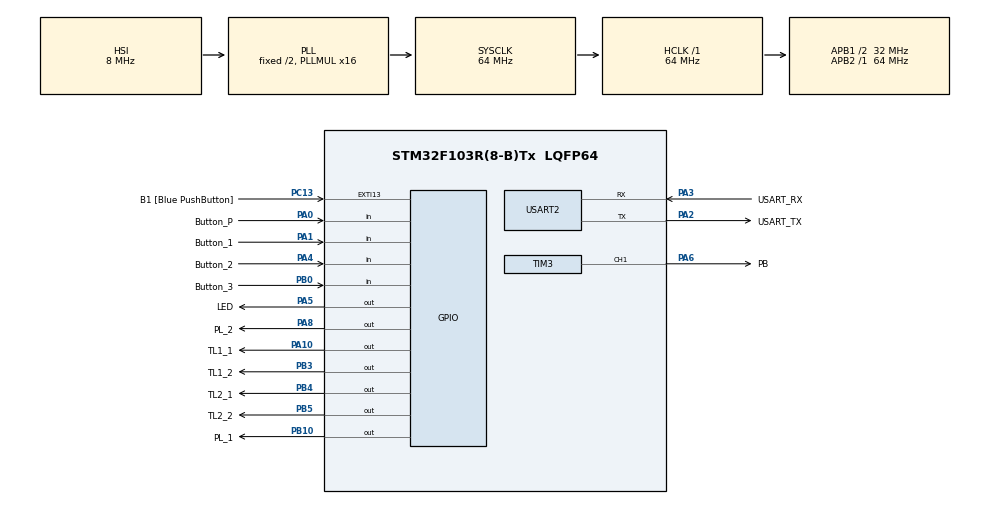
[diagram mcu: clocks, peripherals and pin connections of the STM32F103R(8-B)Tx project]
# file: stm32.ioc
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Mcu.Family=STM32F1
Mcu.Name=STM32F103R(8-B)Tx
Mcu.Package=LQFP64
NVIC.EXTI15_10_IRQn=true\:0\:0\:false\:false\:true\:true\:true
NVIC.PriorityGroup=NVIC_PRIORITYGROUP_4
NVIC.TIM2_IRQn=true\:0\:0\:false\:false\:true\:true\:true
NVIC.TIM3_IRQn=true\:0\:0\:false\:false\:true\:true\:true
PA0-WKUP.GPIO_Label=Button_P
PA0-WKUP.GPIO_PuPd=GPIO_PULLUP
PA0-WKUP.Signal=GPIO_Input
PA1.GPIO_Label=Button_1
PA1.GPIO_PuPd=GPIO_PULLUP
PA1.Signal=GPIO_Input
PA10.GPIO_Label=TL1_1
PA10.Signal=GPIO_Output
PA13.GPIO_Label=TMS
PA13.Mode=Serial_Wire
PA13.Signal=SYS_JTMS-SWDIO
PA14.GPIO_Label=TCK
PA14.Mode=Serial_Wire
PA14.Signal=SYS_JTCK-SWCLK
PA2.GPIO_Label=USART_TX
PA2.GPIO_Mode=GPIO_MODE_AF_PP
PA2.GPIO_PuPd=GPIO_NOPULL
PA2.GPIO_Speed=GPIO_SPEED_FREQ_LOW
PA2.Mode=Asynchronous
PA2.Signal=USART2_TX
PA3.GPIO_Label=USART_RX
PA3.GPIO_Mode=GPIO_MODE_AF_PP
PA3.GPIO_PuPd=GPIO_NOPULL
PA3.GPIO_Speed=GPIO_SPEED_FREQ_LOW
PA3.Mode=Asynchronous
PA3.Signal=USART2_RX
PA4.GPIO_Label=Button_2
PA4.GPIO_PuPd=GPIO_PULLUP
PA4.Signal=GPIO_Input
PA5.GPIO_Label=LED
PA5.GPIO_ModeDefaultOutputPP=GPIO_MODE_OUTPUT_PP
PA5.GPIO_PuPd=GPIO_NOPULL
PA5.GPIO_Speed=GPIO_SPEED_FREQ_LOW
PA5.Signal=GPIO_Output
PA6.GPIO_Label=PB
PA6.Signal=S_TIM3_CH1
PA8.GPIO_Label=PL_2
PA8.Signal=GPIO_Output
PB0.GPIO_Label=Button_3
PB0.GPIO_PuPd=GPIO_PULLUP
PB0.Signal=GPIO_Input
PB10.GPIO_Label=PL_1
PB10.Signal=GPIO_Output
PB3.GPIO_Label=TL1_2
PB3.Signal=GPIO_Output
PB4.GPIO_Label=TL2_1
PB4.Signal=GPIO_Output
PB5.GPIO_Label=TL2_2
PB5.Signal=GPIO_Output
PC13-TAMPER-RTC.GPIO_Label=B1 [Blue PushButton]
PC13-TAMPER-RTC.GPIO_PuPd=GPIO_NOPULL
PC13-TAMPER-RTC.Signal=GPXTI13
PC14-OSC32_IN.Mode=LSE-External-Oscillator
PC14-OSC32_IN.Signal=RCC_OSC32_IN
PC15-OSC32_OUT.Mode=LSE-External-Oscillator
PC15-OSC32_OUT.Signal=RCC_OSC32_OUT
PD0-OSC_IN.Mode=HSE-External-Clock-Source
PD0-OSC_IN.Signal=RCC_OSC_IN
PD1-OSC_OUT.Mode=HSE-External-Clock-Source
PD1-OSC_OUT.Signal=RCC_OSC_OUT
ProjectManager.HeapSize=0x200
ProjectManager.StackSize=0x400
ProjectManager.TargetToolchain=STM32CubeIDE
RCC.AHBFreq_Value=64000000
RCC.APB1CLKDivider=RCC_HCLK_DIV2
RCC.APB1Freq_Value=32000000
RCC.APB1TimFreq_Value=64000000
RCC.APB2Freq_Value=64000000
RCC.APB2TimFreq_Value=64000000
RCC.HCLKFreq_Value=64000000
RCC.PLLMUL=RCC_PLL_MUL16
RCC.RTCClockSelection=RCC_RTCCLKSOURCE_LSE
RCC.SYSCLKFreq_VALUE=64000000
RCC.SYSCLKSource=RCC_SYSCLKSOURCE_PLLCLK
RCC.USBFreq_Value=64000000
SH.S_TIM3_CH1.0=TIM3_CH1,PWM Generation1 CH1
TIM2.Period=10
TIM2.Prescaler=63999
TIM3.Channel-PWM\ Generation1\ CH1=TIM_CHANNEL_1
TIM3.Period=999
TIM3.Prescaler=63
USART2.VirtualMode=VM_ASYNC
VP_TIM2_VS_ClockSourceINT.Mode=Internal
VP_TIM3_VS_ClockSourceINT.Mode=Internal
board=NUCLEO-F103RB

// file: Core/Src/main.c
/* USER CODE BEGIN Header */
/**
  ******************************************************************************
  * @file           : main.c
  * @brief          : Main program body
  ******************************************************************************
  * @attention
  *
  * <h2><center>&copy; Copyright (c) 2022 STMicroelectronics.
  * All rights reserved.</center></h2>
  *
  * This software component is licensed by ST under BSD 3-Clause license,
  * the "License"; You may not use this file except in compliance with the
  * License. You may obtain a copy of the License at:
  *                        opensource.org/licenses/BSD-3-Clause
  *
  ******************************************************************************
  */
/* USER CODE END Header */
#include "main.h"

/* USER CODE BEGIN Includes */
#include "software_timer.h"
#include "fsm_auto.h"
#include "fsm_manual.h"
#include "fsm_pedestrian.h"
#include "button.h"
#include "output_display.h"
#include "global.h"
/* USER CODE END Includes */

TIM_HandleTypeDef htim2;
TIM_HandleTypeDef htim3;

UART_HandleTypeDef huart2;

void SystemClock_Config(void);
static void MX_GPIO_Init(void);
static void MX_USART2_UART_Init(void);
static void MX_TIM3_Init(void);
static void MX_TIM2_Init(void);

/* USER CODE BEGIN 0 */
void fsm_buzzer_processing(){
	switch (status_buzzer) {
		case BUZ_ON:
			if(timer3_flag==1){
				if(redDuration<=5){
					setTimer3(200);
					dutyCycle+=40;
					__HAL_TIM_SET_COMPARE(&htim3, TIM_CHANNEL_1, dutyCycle);
				}
				else{
					if((redDuration-numberCounter)<=5){
						setTimer3(200);
						dutyCycle+=40;
						if(dutyCycle>=1000) dutyCycle=900;
						__HAL_TIM_SET_COMPARE(&htim3, TIM_CHANNEL_1, dutyCycle);
					}
				}

			}
			break;
		case BUZ_OFF:
			dutyCycle=0;
			__HAL_TIM_SET_COMPARE(&htim3, TIM_CHANNEL_1, dutyCycle);
			break;
		default:
			break;
	}
}
/* USER CODE END 0 */

int main(void)
{

  /* MCU Configuration--------------------------------------------------------*/

  /* Reset of all peripherals, Initializes the Flash interface and the Systick. */
  HAL_Init();

  /* Configure the system clock */
  SystemClock_Config();

  /* Initialize all configured peripherals */
  MX_GPIO_Init();
  MX_USART2_UART_Init();
  MX_TIM3_Init();
  MX_TIM2_Init();
  /* USER CODE BEGIN 2 */
  HAL_TIM_Base_Start_IT (& htim2 ) ;
  HAL_TIM_PWM_Start(&htim3, TIM_CHANNEL_1);
  /* USER CODE END 2 */

  /* Infinite loop */
  /* USER CODE BEGIN WHILE */
  timer0_flag=1;//Led
  timer1_flag=1;//timeOutMan || timeOutPed
  timer2_flag=1;//blink PA5
  timer3_flag=1;//buzzer
  while (1)
  {
    /* USER CODE END WHILE */

    /* USER CODE BEGIN 3 */
	  fsm_auto_processing();
	  fsm_manual_processing();
	  fsm_pedestrian_processing();
	  fsm_buzzer_processing();
	  if(timer2_flag==1){
		  setTimer2(1000);
		  blinkPA51s();
	  }
  }
  /* USER CODE END 3 */
}

void SystemClock_Config(void)
{
  RCC_OscInitTypeDef RCC_OscInitStruct = {0};
  RCC_ClkInitTypeDef RCC_ClkInitStruct = {0};

  /** Initializes the RCC Oscillators according to the specified parameters
  * in the RCC_OscInitTypeDef structure.
  */
  RCC_OscInitStruct.OscillatorType = RCC_OSCILLATORTYPE_HSI;
  RCC_OscInitStruct.HSIState = RCC_HSI_ON;
  RCC_OscInitStruct.HSICalibrationValue = RCC_HSICALIBRATION_DEFAULT;
  RCC_OscInitStruct.PLL.PLLState = RCC_PLL_ON;
  RCC_OscInitStruct.PLL.PLLSource = RCC_PLLSOURCE_HSI_DIV2;
  RCC_OscInitStruct.PLL.PLLMUL = RCC_PLL_MUL16;
  if (HAL_RCC_OscConfig(&RCC_OscInitStruct) != HAL_OK)
  {
    Error_Handler();
  }
  /** Initializes the CPU, AHB and APB buses clocks
  */
  RCC_ClkInitStruct.ClockType = RCC_CLOCKTYPE_HCLK|RCC_CLOCKTYPE_SYSCLK
                              |RCC_CLOCKTYPE_PCLK1|RCC_CLOCKTYPE_PCLK2;
  RCC_ClkInitStruct.SYSCLKSource = RCC_SYSCLKSOURCE_PLLCLK;
  RCC_ClkInitStruct.AHBCLKDivider = RCC_SYSCLK_DIV1;
  RCC_ClkInitStruct.APB1CLKDivider = RCC_HCLK_DIV2;
  RCC_ClkInitStruct.APB2CLKDivider = RCC_HCLK_DIV1;

  if (HAL_RCC_ClockConfig(&RCC_ClkInitStruct, FLASH_LATENCY_2) != HAL_OK)
  {
    Error_Handler();
  }
}

static void MX_TIM2_Init(void)
{

  TIM_ClockConfigTypeDef sClockSourceConfig = {0};
  TIM_MasterConfigTypeDef sMasterConfig = {0};

  htim2.Instance = TIM2;
  htim2.Init.Prescaler = 63999;
  htim2.Init.CounterMode = TIM_COUNTERMODE_UP;
  htim2.Init.Period = 10;
  htim2.Init.ClockDivision = TIM_CLOCKDIVISION_DIV1;
  htim2.Init.AutoReloadPreload = TIM_AUTORELOAD_PRELOAD_DISABLE;
  if (HAL_TIM_Base_Init(&htim2) != HAL_OK)
  {
    Error_Handler();
  }
  sClockSourceConfig.ClockSource = TIM_CLOCKSOURCE_INTERNAL;
  if (HAL_TIM_ConfigClockSource(&htim2, &sClockSourceConfig) != HAL_OK)
  {
    Error_Handler();
  }
  sMasterConfig.MasterOutputTrigger = TIM_TRGO_RESET;
  sMasterConfig.MasterSlaveMode = TIM_MASTERSLAVEMODE_DISABLE;
  if (HAL_TIMEx_MasterConfigSynchronization(&htim2, &sMasterConfig) != HAL_OK)
  {
    Error_Handler();
  }

}

static void MX_TIM3_Init(void)
{

  TIM_ClockConfigTypeDef sClockSourceConfig = {0};
  TIM_MasterConfigTypeDef sMasterConfig = {0};
  TIM_OC_InitTypeDef sConfigOC = {0};

  htim3.Instance = TIM3;
  htim3.Init.Prescaler = 63;
  htim3.Init.CounterMode = TIM_COUNTERMODE_UP;
  htim3.Init.Period = 999;
  htim3.Init.ClockDivision = TIM_CLOCKDIVISION_DIV1;
  htim3.Init.AutoReloadPreload = TIM_AUTORELOAD_PRELOAD_DISABLE;
  if (HAL_TIM_Base_Init(&htim3) != HAL_OK)
  {
    Error_Handler();
  }
  sClockSourceConfig.ClockSource = TIM_CLOCKSOURCE_INTERNAL;
  if (HAL_TIM_ConfigClockSource(&htim3, &sClockSourceConfig) != HAL_OK)
  {
    Error_Handler();
  }
  if (HAL_TIM_PWM_Init(&htim3) != HAL_OK)
  {
    Error_Handler();
  }
  sMasterConfig.MasterOutputTrigger = TIM_TRGO_RESET;
  sMasterConfig.MasterSlaveMode = TIM_MASTERSLAVEMODE_DISABLE;
  if (HAL_TIMEx_MasterConfigSynchronization(&htim3, &sMasterConfig) != HAL_OK)
  {
    Error_Handler();
  }
  sConfigOC.OCMode = TIM_OCMODE_PWM1;
  sConfigOC.Pulse = 0;
  sConfigOC.OCPolarity = TIM_OCPOLARITY_HIGH;
  sConfigOC.OCFastMode = TIM_OCFAST_DISABLE;
  if (HAL_TIM_PWM_ConfigChannel(&htim3, &sConfigOC, TIM_CHANNEL_1) != HAL_OK)
  {
    Error_Handler();
  }
  HAL_TIM_MspPostInit(&htim3);

}

static void MX_USART2_UART_Init(void)
{

  huart2.Instance = USART2;
  huart2.Init.BaudRate = 115200;
  huart2.Init.WordLength = UART_WORDLENGTH_8B;
  huart2.Init.StopBits = UART_STOPBITS_1;
  huart2.Init.Parity = UART_PARITY_NONE;
  huart2.Init.Mode = UART_MODE_TX_RX;
  huart2.Init.HwFlowCtl = UART_HWCONTROL_NONE;
  huart2.Init.OverSampling = UART_OVERSAMPLING_16;
  if (HAL_UART_Init(&huart2) != HAL_OK)
  {
    Error_Handler();
  }

}

static void MX_GPIO_Init(void)
{
  GPIO_InitTypeDef GPIO_InitStruct = {0};

  /* GPIO Ports Clock Enable */
  __HAL_RCC_GPIOC_CLK_ENABLE();
  __HAL_RCC_GPIOD_CLK_ENABLE();
  __HAL_RCC_GPIOA_CLK_ENABLE();
  __HAL_RCC_GPIOB_CLK_ENABLE();

  /*Configure GPIO pin Output Level */
  HAL_GPIO_WritePin(GPIOA, LED_Pin|PL_2_Pin|TL1_1_Pin, GPIO_PIN_RESET);

  /*Configure GPIO pin Output Level */
  HAL_GPIO_WritePin(GPIOB, PL_1_Pin|TL1_2_Pin|TL2_1_Pin|TL2_2_Pin, GPIO_PIN_RESET);

  /*Configure GPIO pin : B1_Pin */
  GPIO_InitStruct.Pin = B1_Pin;
  GPIO_InitStruct.Mode = GPIO_MODE_IT_RISING;
  GPIO_InitStruct.Pull = GPIO_NOPULL;
  HAL_GPIO_Init(B1_GPIO_Port, &GPIO_InitStruct);

  /*Configure GPIO pins : Button_P_Pin Button_1_Pin Button_2_Pin */
  GPIO_InitStruct.Pin = Button_P_Pin|Button_1_Pin|Button_2_Pin;
  GPIO_InitStruct.Mode = GPIO_MODE_INPUT;
  GPIO_InitStruct.Pull = GPIO_PULLUP;
  HAL_GPIO_Init(GPIOA, &GPIO_InitStruct);

  /*Configure GPIO pins : LED_Pin PL_2_Pin TL1_1_Pin */
  GPIO_InitStruct.Pin = LED_Pin|PL_2_Pin|TL1_1_Pin;
  GPIO_InitStruct.Mode = GPIO_MODE_OUTPUT_PP;
  GPIO_InitStruct.Pull = GPIO_NOPULL;
  GPIO_InitStruct.Speed = GPIO_SPEED_FREQ_LOW;
  HAL_GPIO_Init(GPIOA, &GPIO_InitStruct);

  /*Configure GPIO pin : Button_3_Pin */
  GPIO_InitStruct.Pin = Button_3_Pin;
  GPIO_InitStruct.Mode = GPIO_MODE_INPUT;
  GPIO_InitStruct.Pull = GPIO_PULLUP;
  HAL_GPIO_Init(Button_3_GPIO_Port, &GPIO_InitStruct);

  /*Configure GPIO pins : PL_1_Pin TL1_2_Pin TL2_1_Pin TL2_2_Pin */
  GPIO_InitStruct.Pin = PL_1_Pin|TL1_2_Pin|TL2_1_Pin|TL2_2_Pin;
  GPIO_InitStruct.Mode = GPIO_MODE_OUTPUT_PP;
  GPIO_InitStruct.Pull = GPIO_NOPULL;
  GPIO_InitStruct.Speed = GPIO_SPEED_FREQ_LOW;
  HAL_GPIO_Init(GPIOB, &GPIO_InitStruct);

  /* EXTI interrupt init*/
  HAL_NVIC_SetPriority(EXTI15_10_IRQn, 0, 0);
  HAL_NVIC_EnableIRQ(EXTI15_10_IRQn);

}

/* USER CODE BEGIN 4 */
void HAL_TIM_PeriodElapsedCallback(TIM_HandleTypeDef *htim){
	getKeyInput();
	runTimer();
}
/* USER CODE END 4 */

void Error_Handler(void)
{
  __disable_irq();
  while (1)
  {
  }
}

/************************ (C) COPYRIGHT STMicroelectronics *****END OF FILE****/
